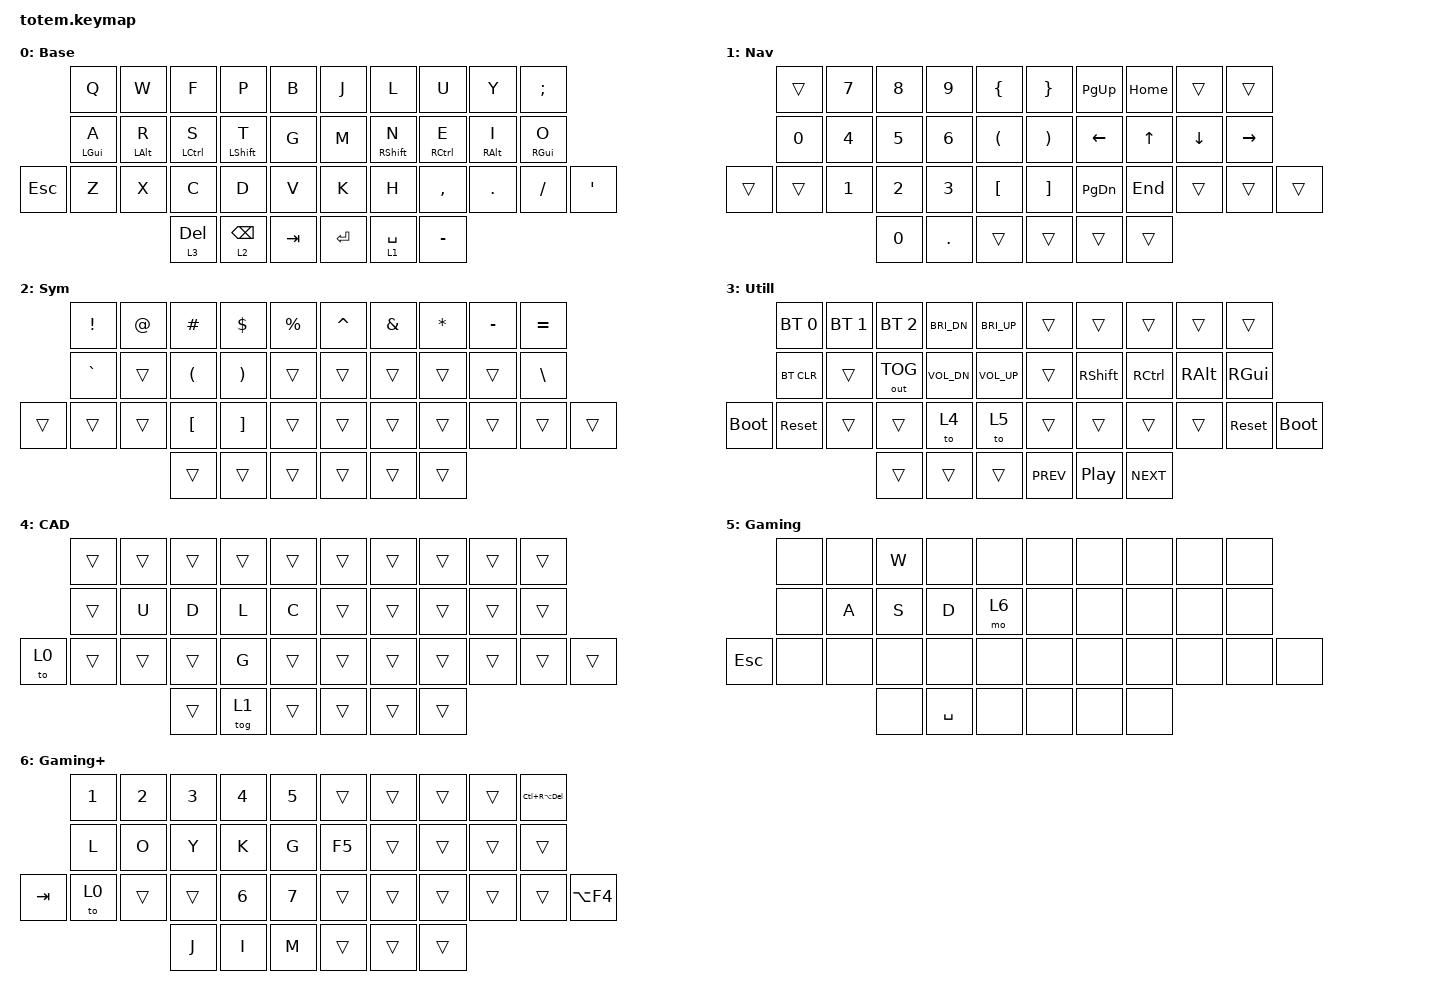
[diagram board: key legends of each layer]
#include <behaviors.dtsi>
#include <dt-bindings/zmk/bt.h>
#include <dt-bindings/zmk/keys.h>
#include <dt-bindings/zmk/outputs.h>

#define Base        0
#define Media       1
#define Nav         2
#define Mouse       3
#define Sym         4
#define Num         5
#define Fun         6
#define Button      7
#define Game        8
#define Gameplus    9

&mt {
    quick-tap-ms = <100>;
    global-quick-tap;
    flavor = "tap-preferred";
    tapping-term-ms = <170>;
};

&lt {
    tapping-term-ms = <240>;
    flavor = "balanced";
    quick-tap-ms = <150>;
};

/ {
    behaviors {
        hm: homerow_mods {
            compatible = "zmk,behavior-hold-tap";
            label = "HOMEROW_MODS";
            #binding-cells = <2>;
            flavor = "balanced";
            tapping-term-ms = <280>;
            quick-tap-ms = <175>;
            require-prior-idle-ms = <150>;

            //global-quick-tap;

            bindings = <&kp>, <&kp>;

            hold-trigger-on-release;
        };
    };

    combos {
        compatible = "zmk,combos";

        backspace {
            bindings = <&kp BACKSPACE>;
            key-positions = <27 28>;
        };

        delete {
            bindings = <&kp DELETE>;
            key-positions = <28 29>;
        };

        copy {
            bindings = <&kp LC(C)>;
            key-positions = <22 23>;
        };

        paste {
            bindings = <&kp LC(V)>;
            key-positions = <23 24>;
        };

        cut {
            bindings = <&kp LC(X)>;
            key-positions = <22 24>;
        };

        CapsLock {
            bindings = <&caps_word>;
            key-positions = <13 16>;
        };
    };

    keymap {
        compatible = "zmk,keymap";

        Base {
            label = "Base";
            bindings = <
         &kp Q       &kp W       &kp F        &kp P            &kp B      &kp J    &kp L        &kp U        &kp Y       &kp SEMI
         &hm LGUI A  &hm LALT R  &hm LCTRL S  &hm LSHIFT T     &kp G      &kp M    &hm RSHFT N  &hm RCTRL E  &hm RALT I  &hm RGUI O
&kp ESC  &kp Z       &kp X       &kp C        &kp D            &kp V      &kp K    &kp H        &kp COMMA    &kp DOT     &kp SLASH   &kp SQT
                                 &lt 3 DEL    &lt 2 BACKSPACE  &kp TAB    &kp RET  &lt 1 SPACE  &kp MINUS
            >;
        };

        Nav {
            label = "Nav";
            bindings = <
        &trans  &kp N7        &kp N8        &kp N9        &kp LBRC                &kp RBRC               &kp PAGE_UP    &kp HOME  &trans    &trans
        &kp N0  &kp NUMBER_4  &kp NUMBER_5  &kp NUMBER_6  &kp LEFT_PARENTHESIS    &kp RIGHT_PARENTHESIS  &kp LEFT       &kp UP    &kp DOWN  &kp RIGHT
&trans  &trans  &kp N1        &kp N2        &kp N3        &kp LEFT_BRACKET        &kp RIGHT_BRACKET      &kp PAGE_DOWN  &kp END   &trans    &trans     &trans
                              &kp N0        &kp DOT       &trans                  &trans                 &trans         &trans
            >;
        };

        Sym {
            label = "Sym";
            bindings = <
        &kp EXCL   &kp AT  &kp HASH  &kp DOLLAR  &kp PERCENT    &kp CARET  &kp AMPERSAND  &kp ASTERISK  &kp MINUS  &kp EQUAL
        &kp GRAVE  &trans  &kp LPAR  &kp RPAR    &trans         &trans     &trans         &trans        &trans     &kp BSLH
&trans  &trans     &trans  &kp LBKT  &kp RBKT    &trans         &trans     &trans         &trans        &trans     &trans     &trans
                           &trans    &trans      &trans         &trans     &trans         &trans
            >;
        };

        Utill {
            label = "Utill";
            bindings = <
             &bt BT_SEL 0  &bt BT_SEL 1  &bt BT_SEL 2  &kp C_BRI_DN  &kp C_BRI_UP    &trans      &trans            &trans      &trans    &trans
             &bt BT_CLR    &trans        &out OUT_TOG  &kp C_VOL_DN  &kp C_VOL_UP    &trans      &kp RSHIFT        &kp RCTRL   &kp RALT  &kp RGUI
&bootloader  &sys_reset    &trans        &trans        &to 4         &to 5           &trans      &trans            &trans      &trans    &sys_reset  &bootloader
                                         &trans        &trans        &trans          &kp C_PREV  &kp C_PLAY_PAUSE  &kp C_NEXT
            >;
        };

        CAD {
            bindings = <
       &trans  &trans  &trans  &trans  &trans    &trans  &trans  &trans  &trans  &trans
       &trans  &kp U   &kp D   &kp L   &kp C     &trans  &trans  &trans  &trans  &trans
&to 0  &trans  &trans  &trans  &kp G   &trans    &trans  &trans  &trans  &trans  &trans  &trans
                       &trans  &tog 1  &trans    &trans  &trans  &trans
            >;
        };

        Gaming {
            bindings = <
            &none  &none  &kp W  &none      &none    &none  &none  &none  &none  &none
            &none  &kp A  &kp S  &kp D      &mo 6    &none  &none  &none  &none  &none
&kp ESCAPE  &none  &none  &none  &none      &none    &none  &none  &none  &none  &none  &none
                          &none  &kp SPACE  &none    &none  &none  &none
            >;

            label = "Gaming";
        };

        Gaming+ {
            bindings = <
         &kp NUMBER_1  &kp NUMBER_2  &kp NUMBER_3  &kp NUMBER_4  &kp NUMBER_5    &trans  &trans  &trans  &trans  &kp LC(RA(DEL))
         &kp L         &kp O         &kp Y         &kp K         &kp G           &kp F5  &trans  &trans  &trans  &trans
&kp TAB  &to 0         &trans        &trans        &kp NUMBER_6  &kp NUMBER_7    &trans  &trans  &trans  &trans  &trans           &kp LA(F4)
                                     &kp J         &kp I         &kp M           &trans  &trans  &trans
            >;

            label = "Gaming+";
        };
    };
};
